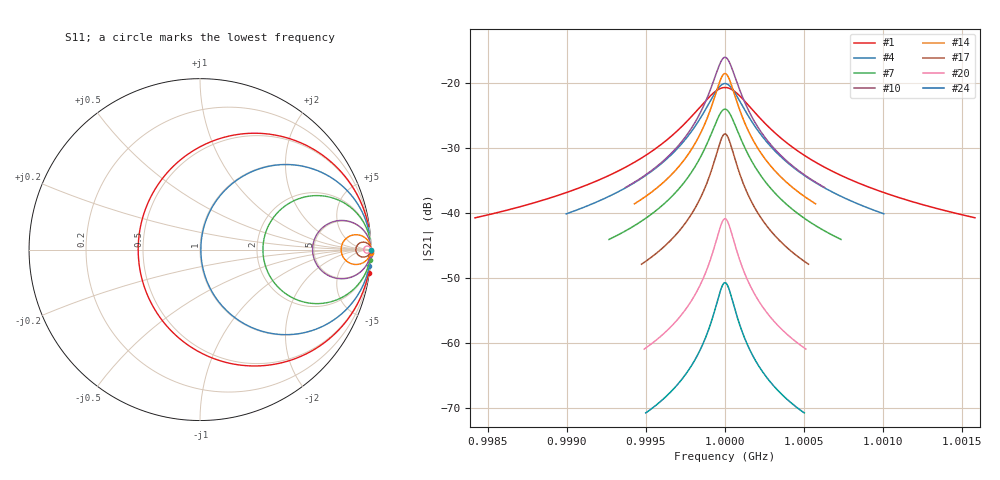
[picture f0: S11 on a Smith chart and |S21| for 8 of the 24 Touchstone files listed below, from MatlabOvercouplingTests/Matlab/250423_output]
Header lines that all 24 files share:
# Hz S RI R 50
Fixed: Q0 = 10000.000000, f0 = 1000000000.000000, n = 1001, rel_span = 10.000000
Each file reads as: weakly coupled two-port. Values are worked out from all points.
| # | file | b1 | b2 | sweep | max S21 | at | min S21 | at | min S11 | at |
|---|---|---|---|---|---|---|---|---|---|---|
| 1 | output_6_8.s2p | 2.154435 | 0.010000 | 998.418 MHz to 1.00158 GHz | -20.65 dB | 1 GHz | -40.7 dB | 998.418 MHz | -8.8 dB | 1 GHz |
| 2 | output_6_10.s2p | 2.154435 | 0.002154 | 998.422 MHz to 1.00158 GHz | -27.30 dB | 1 GHz | -47.3 dB | 998.422 MHz | -8.8 dB | 1 GHz |
| 3 | output_6_11.s2p | 2.154435 | 0.001000 | 998.422 MHz to 1.00158 GHz | -30.63 dB | 1 GHz | -50.7 dB | 998.422 MHz | -8.7 dB | 1 GHz |
| 4 | output_7_7.s2p | 1.000000 | 0.010000 | 998.995 MHz to 1.001 GHz | -20.04 dB | 1 GHz | -40.1 dB | 998.995 MHz | -46.1 dB | 1 GHz |
| 5 | output_7_8.s2p | 1.000000 | 0.004642 | 998.998 MHz to 1.001 GHz | -23.35 dB | 1 GHz | -43.4 dB | 998.998 MHz | -52.7 dB | 1 GHz |
| 6 | output_8_5.s2p | 0.464159 | 0.021544 | 999.257 MHz to 1.00074 GHz | -17.42 dB | 1 GHz | -37.5 dB | 999.257 MHz | -8.5 dB | 1 GHz |
| 7 | output_8_7.s2p | 0.464159 | 0.004642 | 999.266 MHz to 1.00073 GHz | -23.99 dB | 1 GHz | -44.0 dB | 999.266 MHz | -8.7 dB | 1 GHz |
| 8 | output_8_9.s2p | 0.464159 | 0.001000 | 999.267 MHz to 1.00073 GHz | -30.63 dB | 1 GHz | -50.7 dB | 999.267 MHz | -8.7 dB | 1 GHz |
| 9 | output_9_2.s2p | 0.215443 | 0.100000 | 999.342 MHz to 1.00066 GHz | -13.03 dB | 1 GHz | -33.1 dB | 999.342 MHz | -3.4 dB | 1 GHz |
| 10 | output_9_3.s2p | 0.215443 | 0.046416 | 999.369 MHz to 1.00063 GHz | -16.00 dB | 1 GHz | -36.0 dB | 999.369 MHz | -3.6 dB | 1 GHz |
| 11 | output_9_4.s2p | 0.215443 | 0.021544 | 999.382 MHz to 1.00062 GHz | -19.16 dB | 1 GHz | -39.2 dB | 999.382 MHz | -3.7 dB | 1 GHz |
| 12 | output_9_6.s2p | 0.215443 | 0.004642 | 999.39 MHz to 1.00061 GHz | -25.71 dB | 1 GHz | -45.8 dB | 999.39 MHz | -3.8 dB | 1 GHz |
| 13 | output_9_8.s2p | 0.215443 | 0.001000 | 999.392 MHz to 1.00061 GHz | -32.35 dB | 1 GHz | -52.4 dB | 999.392 MHz | -3.8 dB | 1 GHz |
| 14 | output_10_2.s2p | 0.100000 | 0.046416 | 999.427 MHz to 1.00057 GHz | -18.50 dB | 1 GHz | -38.5 dB | 999.427 MHz | -1.7 dB | 1 GHz |
| 15 | output_10_3.s2p | 0.100000 | 0.021544 | 999.439 MHz to 1.00056 GHz | -21.64 dB | 1 GHz | -41.7 dB | 999.439 MHz | -1.7 dB | 1 GHz |
| 16 | output_11_1.s2p | 0.046416 | 0.046416 | 999.454 MHz to 1.00055 GHz | -21.42 dB | 1 GHz | -41.5 dB | 999.454 MHz | -0.8 dB | 1 GHz |
| 17 | output_11_3.s2p | 0.046416 | 0.010000 | 999.472 MHz to 1.00053 GHz | -27.79 dB | 1 GHz | -47.8 dB | 999.472 MHz | -0.8 dB | 1 GHz |
| 18 | output_11_5.s2p | 0.046416 | 0.002154 | 999.476 MHz to 1.00052 GHz | -34.39 dB | 1 GHz | -54.4 dB | 999.476 MHz | -0.8 dB | 1 GHz |
| 19 | output_12_1.s2p | 0.021544 | 0.021544 | 999.478 MHz to 1.00052 GHz | -27.68 dB | 1 GHz | -47.7 dB | 999.478 MHz | -0.4 dB | 1 GHz |
| 20 | output_12_5.s2p | 0.021544 | 0.001000 | 999.489 MHz to 1.00051 GHz | -40.84 dB | 1 GHz | -60.9 dB | 999.489 MHz | -0.4 dB | 1 GHz |
| 21 | output_13_2.s2p | 0.010000 | 0.004642 | 999.493 MHz to 1.00051 GHz | -37.44 dB | 1 GHz | -57.5 dB | 999.493 MHz | -0.2 dB | 1 GHz |
| 22 | output_13_3.s2p | 0.010000 | 0.002154 | 999.494 MHz to 1.00051 GHz | -40.75 dB | 1 GHz | -60.8 dB | 999.494 MHz | -0.2 dB | 1 GHz |
| 23 | output_14_1.s2p | 0.004642 | 0.004642 | 999.495 MHz to 1.0005 GHz | -40.73 dB | 1 GHz | -60.8 dB | 999.495 MHz | -0.1 dB | 1 GHz |
| 24 | output_15_2.s2p | 0.002154 | 0.001000 | 999.498 MHz to 1.0005 GHz | -50.67 dB | 1 GHz | -70.7 dB | 999.498 MHz | 0.0 dB | 1 GHz |
